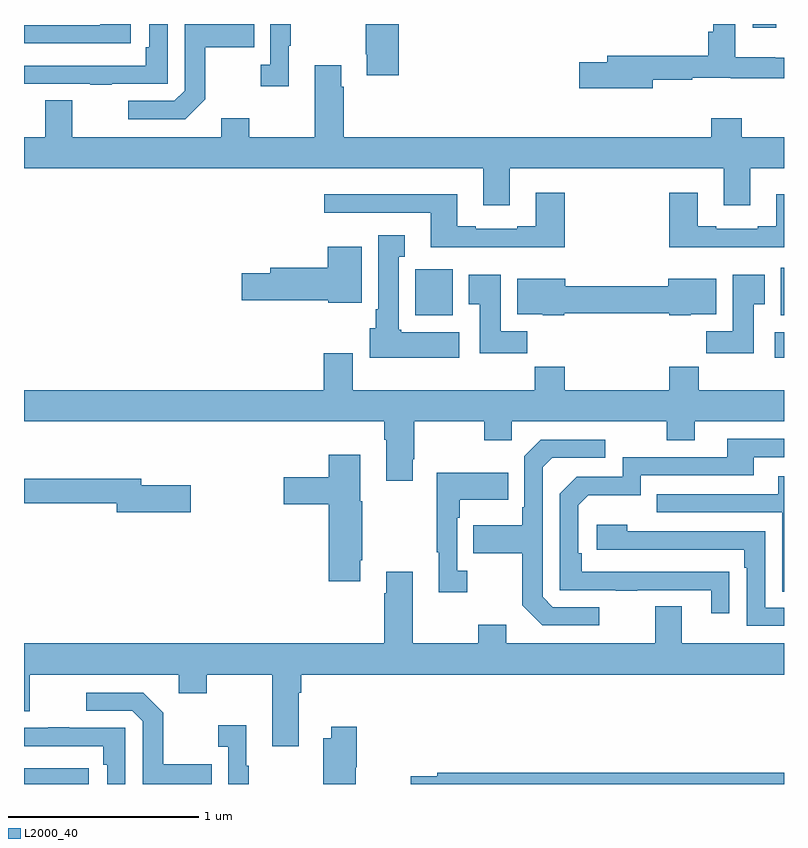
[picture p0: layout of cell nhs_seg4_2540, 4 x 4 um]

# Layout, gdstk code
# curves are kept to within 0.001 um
import gdstk
lib = gdstk.Library(unit=1e-6, precision=1e-09)
def R(c, l, rs):  # rectangles x0, y0, x1, y1
    for r in rs: c.add(gdstk.rectangle(r[:2], r[2:], *l))
def P(c, l, *ps):  # polygons
    for p in ps: c.add(gdstk.Polygon(p, *l))
L2000_40 = (2000, 40)

nhs_seg4_2540 = lib.new_cell('nhs_seg4_2540')
R(nhs_seg4_2540, L2000_40, [(243,806.9,243.34,806.982), (246.951,809.144,247,809.278), (245.06,809.366,245.257,809.608), (246.983,809.366,247,809.617), (246.836,810.879,246.958,810.9)])
P(nhs_seg4_2540, L2000_40, [(244.973,810.9),(244.798,810.9),(244.798,810.742),(244.805,810.742),(244.805,810.63),(244.973,810.63)],
  [(246.31,810.606),(246.518,810.606),(246.518,810.617),(246.72,810.617),(246.72,810.615),(247,810.615),(247,810.723),(246.954,810.723),(246.954,810.724),(246.744,810.724),(246.744,810.9),(246.628,810.9),(246.628,810.859),(246.602,810.859),(246.602,810.734),(246.071,810.734),(246.071,810.698),(245.922,810.698),(245.922,810.563),(246.31,810.563)],
  [(243.461,810.585),(243.756,810.585),(243.756,810.9),(243.66,810.9),(243.66,810.778),(243.64,810.778),(243.64,810.681),(243,810.681),(243,810.585),(243.349,810.585),(243.349,810.58),(243.461,810.58)],
  [(244.393,810.785),(244.405,810.785),(244.405,810.9),(244.296,810.9),(244.296,810.686),(244.245,810.686),(244.245,810.573),(244.393,810.573)],
  [(243.562,810.9),(243.401,810.9),(243.401,810.894),(243,810.894),(243,810.798),(243.562,810.798)],
  [(243.955,810.505),(243.955,810.778),(244.211,810.778),(244.211,810.9),(243.846,810.9),(243.846,810.549),(243.792,810.495),(243.549,810.495),(243.549,810.399),(243.849,810.399)],
  [(245.557,810.14),(246.683,810.14),(246.683,809.946),(246.823,809.946),(246.823,810.14),(247,810.14),(247,810.304),(246.777,810.304),(246.777,810.403),(246.617,810.403),(246.617,810.304),(244.682,810.304),(244.682,810.569),(244.669,810.569),(244.669,810.682),(244.529,810.682),(244.529,810.304),(244.185,810.304),(244.185,810.403),(244.037,810.403),(244.037,810.304),(243.253,810.304),(243.253,810.499),(243.113,810.499),(243.113,810.304),(243,810.304),(243,810.14),(245.417,810.14),(245.417,809.946),(245.557,809.946)],
  [(245.846,810.013),(245.693,810.013),(245.693,809.836),(245.597,809.836),(245.597,809.823),(245.377,809.823),(245.377,809.836),(245.281,809.836),(245.281,810.004),(244.581,810.004),(244.581,809.907),(245.141,809.907),(245.141,809.726),(245.846,809.726)],
  [(247,810.004),(246.959,810.004),(246.959,809.836),(246.863,809.836),(246.863,809.823),(246.643,809.823),(246.643,809.836),(246.547,809.836),(246.547,810.013),(246.395,810.013),(246.395,809.726),(247,809.726)],
  [(245.29,809.278),(244.986,809.278),(244.986,809.292),(244.972,809.292),(244.972,809.675),(245.005,809.675),(245.005,809.788),(244.865,809.788),(244.865,809.398),(244.85,809.398),(244.85,809.298),(244.82,809.298),(244.82,809.144),(245.29,809.144)],
  [(244.777,809.728),(244.598,809.728),(244.598,809.618),(244.295,809.618),(244.295,809.588),(244.146,809.588),(244.146,809.446),(244.602,809.446),(244.602,809.432),(244.777,809.432)],
  [(246.841,809.425),(246.898,809.425),(246.898,809.581),(246.731,809.581),(246.731,809.284),(246.592,809.284),(246.592,809.166),(246.841,809.166)],
  [(245.648,809.284),(245.509,809.284),(245.509,809.581),(245.342,809.581),(245.342,809.425),(245.399,809.425),(245.399,809.166),(245.648,809.166)],
  [(245.844,809.377),(246.396,809.377),(246.396,809.366),(246.51,809.366),(246.51,809.372),(246.643,809.372),(246.643,809.56),(246.392,809.56),(246.392,809.519),(245.848,809.519),(245.848,809.56),(245.597,809.56),(245.597,809.372),(245.73,809.372),(245.73,809.366),(245.844,809.366)],
  [(245.047,808.609),(245.055,808.609),(245.055,808.808),(245.422,808.808),(245.422,808.709),(245.568,808.709),(245.568,808.808),(246.382,808.808),(246.382,808.709),(246.529,808.709),(246.529,808.808),(247,808.808),(247,808.972),(246.551,808.972),(246.551,809.096),(246.395,809.096),(246.395,808.972),(245.846,808.972),(245.846,809.096),(245.689,809.096),(245.689,808.972),(244.729,808.972),(244.729,809.167),(244.577,809.167),(244.577,808.972),(243,808.972),(243,808.808),(244.895,808.808),(244.895,808.712),(244.907,808.712),(244.907,808.497),(245.047,808.497)],
  [(246.713,808.016),(245.936,808.017),(245.936,808.114),(245.916,808.114),(245.916,808.368),(245.969,808.421),(246.246,808.421),(246.246,808.524),(246.841,808.524),(246.841,808.62),(247,808.62),(247,808.716),(246.701,808.716),(246.701,808.62),(246.15,808.62),(246.15,808.518),(245.91,808.518),(245.82,808.428),(245.82,807.921),(246.115,807.921),(246.115,807.916),(246.227,807.916),(246.227,807.921),(246.617,807.921),(246.617,807.798),(246.713,807.798)],
  [(246.028,807.831),(245.784,807.831),(245.73,807.885),(245.73,808.566),(245.781,808.617),(246.058,808.617),(246.058,808.713),(245.721,808.713),(245.634,808.626),(245.634,808.357),(245.622,808.357),(245.622,808.261),(245.365,808.261),(245.365,808.114),(245.622,808.114),(245.622,807.841),(245.727,807.735),(246.028,807.735)],
  [(244.771,808.078),(244.779,808.078),(244.779,808.389),(244.771,808.389),(244.771,808.633),(244.604,808.633),(244.604,808.515),(244.368,808.515),(244.368,808.373),(244.604,808.373),(244.604,807.966),(244.771,807.966)],
  [(245.332,808.022),(245.28,808.022),(245.28,808.301),(245.293,808.301),(245.293,808.397),(245.549,808.397),(245.549,808.537),(245.172,808.537),(245.172,808.121),(245.183,808.121),(245.183,807.909),(245.332,807.909)],
  [(247,808.519),(246.971,808.519),(246.971,808.425),(246.331,808.425),(246.331,808.329),(246.99,808.329),(246.99,807.913),(247,807.913)],
  [(243.877,808.473),(243.616,808.473),(243.616,808.507),(243,808.507),(243,808.378),(243.488,808.378),(243.488,808.331),(243.877,808.331)],
  [(247,807.828),(246.9,807.828),(246.9,808.23),(246.176,808.23),(246.176,808.264),(246.015,808.264),(246.015,808.134),(246.791,808.134),(246.791,808.037),(246.804,808.037),(246.804,807.732),(247,807.732)],
  [(244.447,807.38),(244.46,807.38),(244.46,807.476),(247,807.476),(247,807.64),(246.463,807.64),(246.463,807.835),(246.323,807.835),(246.323,807.64),(245.539,807.64),(245.539,807.739),(245.392,807.739),(245.392,807.64),(245.047,807.64),(245.047,808.018),(244.907,808.018),(244.907,807.905),(244.895,807.905),(244.895,807.64),(243,807.64),(243,807.282),(243.031,807.282),(243.031,807.476),(243.815,807.476),(243.815,807.377),(243.963,807.377),(243.963,807.476),(244.307,807.476),(244.307,807.099),(244.447,807.099)],
  [(243.989,807.003),(243.733,807.003),(243.733,807.275),(243.627,807.381),(243.327,807.381),(243.327,807.285),(243.57,807.285),(243.624,807.231),(243.624,806.9),(243.989,806.9)],
  [(244.183,806.995),(244.171,806.995),(244.171,807.208),(244.023,807.208),(244.023,807.095),(244.074,807.095),(244.074,806.9),(244.183,806.9)],
  [(244.746,806.989),(244.751,806.989),(244.751,807.202),(244.616,807.202),(244.616,807.142),(244.576,807.142),(244.576,806.9),(244.746,806.9)],
  [(243.534,807.195),(243.239,807.195),(243.239,807.2),(243.127,807.2),(243.127,807.195),(243,807.195),(243,807.099),(243.418,807.099),(243.418,807.002),(243.438,807.002),(243.438,806.9),(243.534,806.9)],
  [(247,806.96),(245.176,806.96),(245.176,806.94),(245.035,806.94),(245.035,806.9),(247,806.9)])

lib.write_gds('nhs_seg4_2540.gds')
